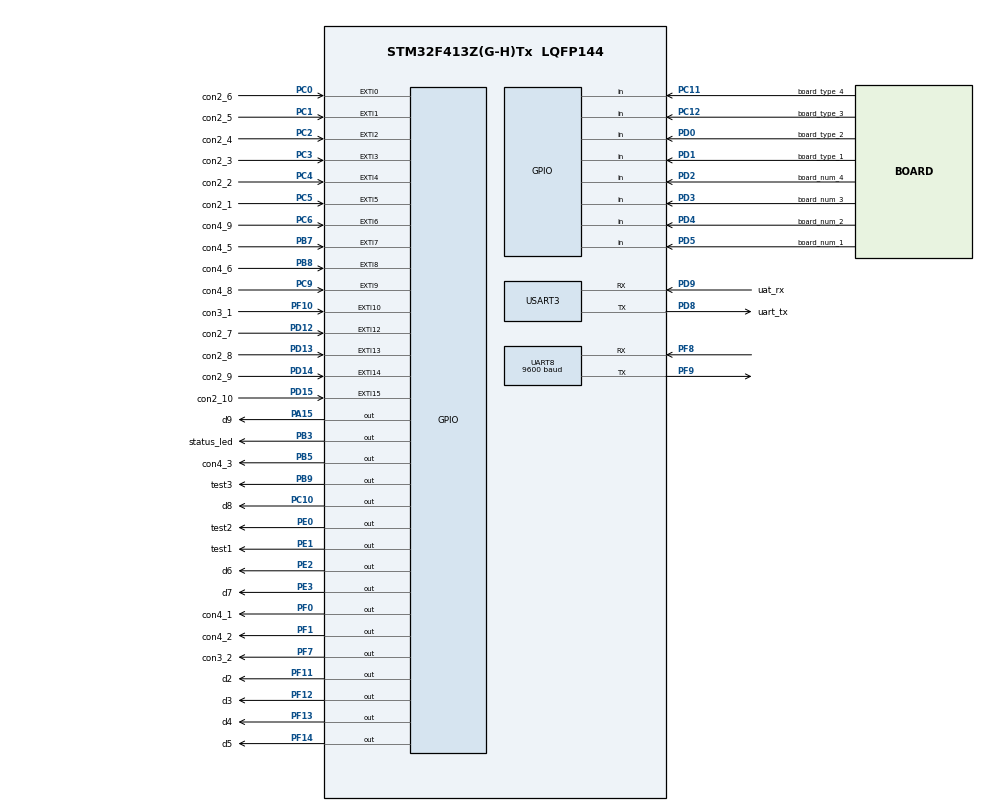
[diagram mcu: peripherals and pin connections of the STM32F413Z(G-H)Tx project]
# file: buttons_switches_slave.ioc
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Mcu.Family=STM32F4
Mcu.Name=STM32F413Z(G-H)Tx
Mcu.Package=LQFP144
NVIC.EXTI0_IRQn=true\:0\:0\:false\:false\:true\:true\:true
NVIC.EXTI15_10_IRQn=true\:0\:0\:false\:false\:true\:true\:true
NVIC.EXTI1_IRQn=true\:0\:0\:false\:false\:true\:true\:true
NVIC.EXTI2_IRQn=true\:0\:0\:false\:false\:true\:true\:true
NVIC.EXTI3_IRQn=true\:0\:0\:false\:false\:true\:true\:true
NVIC.EXTI4_IRQn=true\:0\:0\:false\:false\:true\:true\:true
NVIC.EXTI9_5_IRQn=true\:0\:0\:false\:false\:true\:true\:true
NVIC.PriorityGroup=NVIC_PRIORITYGROUP_4
NVIC.UART8_IRQn=true\:0\:0\:false\:false\:true\:true\:true
NVIC.USART3_IRQn=true\:0\:0\:false\:false\:true\:true\:true
PA13.Mode=Serial_Wire
PA13.Signal=SYS_JTMS-SWDIO
PA14.Mode=Serial_Wire
PA14.Signal=SYS_JTCK-SWCLK
PA15.GPIO_Label=d9
PA15.Signal=GPIO_Output
PB3.GPIO_Label=status_led
PB3.Signal=GPIO_Output
PB5.GPIO_Label=con4_3
PB5.Signal=GPIO_Output
PB7.GPIO_Label=con4_5
PB7.GPIO_ModeDefaultEXTI=GPIO_MODE_IT_RISING_FALLING
PB7.Signal=GPXTI7
PB8.GPIO_Label=con4_6
PB8.GPIO_ModeDefaultEXTI=GPIO_MODE_IT_RISING_FALLING
PB8.Signal=GPXTI8
PB9.GPIO_Label=test3
PB9.Signal=GPIO_Output
PC0.GPIO_Label=con2_6
PC0.GPIO_ModeDefaultEXTI=GPIO_MODE_IT_RISING_FALLING
PC0.GPIO_PuPd=GPIO_PULLUP
PC0.Signal=GPXTI0
PC1.GPIO_Label=con2_5
PC1.GPIO_ModeDefaultEXTI=GPIO_MODE_IT_RISING_FALLING
PC1.GPIO_PuPd=GPIO_PULLUP
PC1.Signal=GPXTI1
PC10.GPIO_Label=d8
PC10.Signal=GPIO_Output
PC11.GPIO_Label=board_type_4
PC11.Signal=GPIO_Input
PC12.GPIO_Label=board_type_3
PC12.Signal=GPIO_Input
PC14-OSC32_IN.Mode=LSE-External-Oscillator
PC14-OSC32_IN.Signal=RCC_OSC32_IN
PC15-OSC32_OUT.Mode=LSE-External-Oscillator
PC15-OSC32_OUT.Signal=RCC_OSC32_OUT
PC2.GPIO_Label=con2_4
PC2.GPIO_ModeDefaultEXTI=GPIO_MODE_IT_RISING_FALLING
PC2.GPIO_PuPd=GPIO_PULLUP
PC2.Signal=GPXTI2
PC3.GPIO_Label=con2_3
PC3.GPIO_ModeDefaultEXTI=GPIO_MODE_IT_RISING_FALLING
PC3.GPIO_PuPd=GPIO_PULLUP
PC3.Signal=GPXTI3
PC4.GPIO_Label=con2_2
PC4.GPIO_ModeDefaultEXTI=GPIO_MODE_IT_RISING_FALLING
PC4.GPIO_PuPd=GPIO_PULLUP
PC4.Signal=GPXTI4
PC5.GPIO_Label=con2_1
PC5.GPIO_ModeDefaultEXTI=GPIO_MODE_IT_RISING_FALLING
PC5.GPIO_PuPd=GPIO_PULLUP
PC5.Signal=GPXTI5
PC6.GPIO_Label=con4_9
PC6.GPIO_ModeDefaultEXTI=GPIO_MODE_IT_RISING_FALLING
PC6.Signal=GPXTI6
PC9.GPIO_Label=con4_8
PC9.GPIO_ModeDefaultEXTI=GPIO_MODE_IT_RISING_FALLING
PC9.Signal=GPXTI9
PD0.GPIO_Label=board_type_2
PD0.Signal=GPIO_Input
PD1.GPIO_Label=board_type_1
PD1.Signal=GPIO_Input
PD12.GPIO_Label=con2_7
PD12.GPIO_ModeDefaultEXTI=GPIO_MODE_IT_RISING_FALLING
PD12.GPIO_PuPd=GPIO_PULLUP
PD12.Signal=GPXTI12
PD13.GPIO_Label=con2_8
PD13.GPIO_ModeDefaultEXTI=GPIO_MODE_IT_RISING_FALLING
PD13.GPIO_PuPd=GPIO_PULLUP
PD13.Signal=GPXTI13
PD14.GPIO_Label=con2_9
PD14.GPIO_ModeDefaultEXTI=GPIO_MODE_IT_RISING_FALLING
PD14.GPIO_PuPd=GPIO_PULLUP
PD14.Signal=GPXTI14
PD15.GPIO_Label=con2_10
PD15.GPIO_ModeDefaultEXTI=GPIO_MODE_IT_RISING_FALLING
PD15.GPIO_PuPd=GPIO_PULLUP
PD15.Signal=GPXTI15
PD2.GPIO_Label=board_num_4
PD2.Signal=GPIO_Input
PD3.GPIO_Label=board_num_3
PD3.Signal=GPIO_Input
PD4.GPIO_Label=board_num_2
PD4.Signal=GPIO_Input
PD5.GPIO_Label=board_num_1
PD5.Signal=GPIO_Input
PD8.GPIO_Label=uart_tx
PD8.Mode=Asynchronous
PD8.Signal=USART3_TX
PD9.GPIO_Label=uat_rx
PD9.Mode=Asynchronous
PD9.Signal=USART3_RX
PE0.GPIO_Label=test2
PE0.Signal=GPIO_Output
PE1.GPIO_Label=test1
PE1.Signal=GPIO_Output
PE2.GPIO_Label=d6
PE2.Signal=GPIO_Output
PE3.GPIO_Label=d7
PE3.Signal=GPIO_Output
PF0.GPIO_Label=con4_1
PF0.Signal=GPIO_Output
PF1.GPIO_Label=con4_2
PF1.Signal=GPIO_Output
PF10.GPIO_Label=con3_1
PF10.GPIO_ModeDefaultEXTI=GPIO_MODE_IT_RISING_FALLING
PF10.Signal=GPXTI10
PF11.GPIO_Label=d2
PF11.Signal=GPIO_Output
PF12.GPIO_Label=d3
PF12.Signal=GPIO_Output
PF13.GPIO_Label=d4
PF13.Signal=GPIO_Output
PF14.GPIO_Label=d5
PF14.Signal=GPIO_Output
PF7.GPIO_Label=con3_2
PF7.Signal=GPIO_Output
PF8.Mode=Asynchronous
PF8.Signal=UART8_RX
PF9.Mode=Asynchronous
PF9.Signal=UART8_TX
ProjectManager.HeapSize=0x200
ProjectManager.StackSize=0x400
ProjectManager.TargetToolchain=STM32CubeIDE
RCC.CortexFreq_Value=16000000
RCC.USBFreq_Value=96000000
RCC.VCOOutputFreq_Value=192000000
UART8.BaudRate=9600
UART8.VirtualMode=Asynchronous
USART3.VirtualMode=VM_ASYNC
board=custom

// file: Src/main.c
/* USER CODE BEGIN Header */
/*
 * BUTTONS AND SWITCHES
 */
/* USER CODE END Header */

#include "main.h"

/* USER CODE BEGIN Includes */

#include "PIN_DEFS.h"
#include "STRUCTS.h"

/* USER CODE END Includes */

/* USER CODE BEGIN PD */

//Timing magic numbers
#define MAX_TICKER_VALUE 	4294967295
#define LED_SCALER 			10000

//Switch/button status
#define HIGH				2
#define LOW					1
/* USER CODE END PD */

UART_HandleTypeDef huart8;
UART_HandleTypeDef huart3;

void SystemClock_Config(void);
static void MX_GPIO_Init(void);
static void MX_USART3_UART_Init(void);
static void MX_UART8_Init(void);

/* USER CODE BEGIN 0 */
uint32_t ticker = 0;

union board_info_data board_data;
data_packet info_out;

union data_in data;

// State arrays
uint8_t newState[15] = {0};
uint8_t oldState[15] = {0};

/* USER CODE END 0 */

int main(void)
{

  /* MCU Configuration--------------------------------------------------------*/

  /* Reset of all peripherals, Initializes the Flash interface and the Systick. */
  HAL_Init();

  /* Configure the system clock */
  SystemClock_Config();

  /* Initialize all configured peripherals */
  MX_GPIO_Init();
  MX_USART3_UART_Init();
  MX_UART8_Init();

  /* Infinite loop */
  /* USER CODE BEGIN WHILE */
  while (1)
  {
	  HAL_UART_Receive_IT(&huart8, data.info_in_buffer, 3);

	  // Assign board info
	  board_data.board_info_raw.board_type_1 = HAL_GPIO_ReadPin(GPIOD, board_type_1_Pin) ? 0b1 : 0b0;
	  board_data.board_info_raw.board_type_2 = HAL_GPIO_ReadPin(GPIOD, board_type_2_Pin) ? 0b1 : 0b0;
	  board_data.board_info_raw.board_type_3 = HAL_GPIO_ReadPin(GPIOC, board_type_3_Pin) ? 0b1 : 0b0;
	  board_data.board_info_raw.board_type_4 = HAL_GPIO_ReadPin(GPIOC, board_type_4_Pin) ? 0b1 : 0b0;

	  board_data.board_info_raw.board_num_1 = HAL_GPIO_ReadPin(GPIOD, board_num_1_Pin) ? 0b1 : 0b0;
	  board_data.board_info_raw.board_num_2 = HAL_GPIO_ReadPin(GPIOD, board_num_2_Pin) ? 0b1 : 0b0;
	  board_data.board_info_raw.board_num_3 = HAL_GPIO_ReadPin(GPIOD, board_num_3_Pin) ? 0b1 : 0b0;
	  board_data.board_info_raw.board_num_4 = HAL_GPIO_ReadPin(GPIOD, board_num_4_Pin) ? 0b1 : 0b0;

	  info_out.board_info = board_data.board_info_char;

	  //Status LED
	  ticker++;
	  if (ticker % LED_SCALER == 0)  HAL_GPIO_TogglePin(status_led_GPIO_Port, status_led_Pin);
	  if (ticker == MAX_TICKER_VALUE) ticker = 0;

	  //Dip switches linked to LEDs
	  (HAL_GPIO_ReadPin(GPIOD, board_type_1_Pin) == 0) ? HAL_GPIO_WritePin(GPIOE, d6_Pin, GPIO_PIN_RESET) :
			  	  HAL_GPIO_WritePin(GPIOE, d6_Pin, GPIO_PIN_SET);

	  (HAL_GPIO_ReadPin(GPIOD, board_type_2_Pin) == 0) ? HAL_GPIO_WritePin(GPIOE, d7_Pin, GPIO_PIN_RESET) :
		  	  HAL_GPIO_WritePin(GPIOE, d7_Pin, GPIO_PIN_SET);

	  (HAL_GPIO_ReadPin(GPIOC, board_type_3_Pin) == 0) ? HAL_GPIO_WritePin(GPIOA, d8_Pin, GPIO_PIN_RESET) :
		  	  HAL_GPIO_WritePin(GPIOA, d8_Pin, GPIO_PIN_SET);

	  (HAL_GPIO_ReadPin(GPIOC, board_type_4_Pin) == 0) ? HAL_GPIO_WritePin(GPIOC, d9_Pin, GPIO_PIN_RESET) :
		  	  HAL_GPIO_WritePin(GPIOC, d9_Pin, GPIO_PIN_SET);

	  (HAL_GPIO_ReadPin(GPIOD, board_num_1_Pin) == 0) ? HAL_GPIO_WritePin(GPIOF, d5_Pin, GPIO_PIN_RESET) :
		  	  HAL_GPIO_WritePin(GPIOF, d5_Pin, GPIO_PIN_SET);

	  (HAL_GPIO_ReadPin(GPIOD, board_num_2_Pin) == 0) ? HAL_GPIO_WritePin(GPIOF, d4_Pin, GPIO_PIN_RESET) :
		  	  HAL_GPIO_WritePin(GPIOF, d4_Pin, GPIO_PIN_SET);

	  (HAL_GPIO_ReadPin(GPIOD, board_num_3_Pin) == 0) ? HAL_GPIO_WritePin(GPIOF, d3_Pin, GPIO_PIN_RESET) :
		  	  HAL_GPIO_WritePin(GPIOF, d3_Pin, GPIO_PIN_SET);

	  (HAL_GPIO_ReadPin(GPIOD, board_num_4_Pin) == 0) ? HAL_GPIO_WritePin(GPIOF, d2_Pin, GPIO_PIN_RESET) :
	  		  HAL_GPIO_WritePin(GPIOF, d2_Pin, GPIO_PIN_SET);

    /* USER CODE END WHILE */

  }
}

void SystemClock_Config(void)
{
  RCC_OscInitTypeDef RCC_OscInitStruct = {0};
  RCC_ClkInitTypeDef RCC_ClkInitStruct = {0};

  /** Configure the main internal regulator output voltage
  */
  __HAL_RCC_PWR_CLK_ENABLE();
  __HAL_PWR_VOLTAGESCALING_CONFIG(PWR_REGULATOR_VOLTAGE_SCALE1);
  /** Initializes the CPU, AHB and APB busses clocks
  */
  RCC_OscInitStruct.OscillatorType = RCC_OSCILLATORTYPE_HSI;
  RCC_OscInitStruct.HSIState = RCC_HSI_ON;
  RCC_OscInitStruct.HSICalibrationValue = RCC_HSICALIBRATION_DEFAULT;
  RCC_OscInitStruct.PLL.PLLState = RCC_PLL_NONE;
  if (HAL_RCC_OscConfig(&RCC_OscInitStruct) != HAL_OK)
  {
    Error_Handler();
  }
  /** Initializes the CPU, AHB and APB busses clocks
  */
  RCC_ClkInitStruct.ClockType = RCC_CLOCKTYPE_HCLK|RCC_CLOCKTYPE_SYSCLK
                              |RCC_CLOCKTYPE_PCLK1|RCC_CLOCKTYPE_PCLK2;
  RCC_ClkInitStruct.SYSCLKSource = RCC_SYSCLKSOURCE_HSI;
  RCC_ClkInitStruct.AHBCLKDivider = RCC_SYSCLK_DIV1;
  RCC_ClkInitStruct.APB1CLKDivider = RCC_HCLK_DIV1;
  RCC_ClkInitStruct.APB2CLKDivider = RCC_HCLK_DIV1;

  if (HAL_RCC_ClockConfig(&RCC_ClkInitStruct, FLASH_LATENCY_0) != HAL_OK)
  {
    Error_Handler();
  }
}

static void MX_UART8_Init(void)
{

  huart8.Instance = UART8;
  huart8.Init.BaudRate = 9600;
  huart8.Init.WordLength = UART_WORDLENGTH_8B;
  huart8.Init.StopBits = UART_STOPBITS_1;
  huart8.Init.Parity = UART_PARITY_NONE;
  huart8.Init.Mode = UART_MODE_TX_RX;
  huart8.Init.HwFlowCtl = UART_HWCONTROL_NONE;
  huart8.Init.OverSampling = UART_OVERSAMPLING_16;
  if (HAL_UART_Init(&huart8) != HAL_OK)
  {
    Error_Handler();
  }

}

static void MX_USART3_UART_Init(void)
{

  huart3.Instance = USART3;
  huart3.Init.BaudRate = 115200;
  huart3.Init.WordLength = UART_WORDLENGTH_8B;
  huart3.Init.StopBits = UART_STOPBITS_1;
  huart3.Init.Parity = UART_PARITY_NONE;
  huart3.Init.Mode = UART_MODE_TX_RX;
  huart3.Init.HwFlowCtl = UART_HWCONTROL_NONE;
  huart3.Init.OverSampling = UART_OVERSAMPLING_16;
  if (HAL_UART_Init(&huart3) != HAL_OK)
  {
    Error_Handler();
  }

}

static void MX_GPIO_Init(void)
{
  GPIO_InitTypeDef GPIO_InitStruct = {0};

  /* GPIO Ports Clock Enable */
  __HAL_RCC_GPIOE_CLK_ENABLE();
  __HAL_RCC_GPIOC_CLK_ENABLE();
  __HAL_RCC_GPIOF_CLK_ENABLE();
  __HAL_RCC_GPIOD_CLK_ENABLE();
  __HAL_RCC_GPIOA_CLK_ENABLE();
  __HAL_RCC_GPIOB_CLK_ENABLE();

  /*Configure GPIO pin Output Level */
  HAL_GPIO_WritePin(GPIOE, d6_Pin|d7_Pin|test2_Pin|test1_Pin, GPIO_PIN_RESET);

  /*Configure GPIO pin Output Level */
  HAL_GPIO_WritePin(GPIOF, con4_1_Pin|con4_2_Pin|con3_2_Pin|d2_Pin
                          |d3_Pin|d4_Pin|d5_Pin, GPIO_PIN_RESET);

  /*Configure GPIO pin Output Level */
  HAL_GPIO_WritePin(d9_GPIO_Port, d9_Pin, GPIO_PIN_RESET);

  /*Configure GPIO pin Output Level */
  HAL_GPIO_WritePin(d8_GPIO_Port, d8_Pin, GPIO_PIN_RESET);

  /*Configure GPIO pin Output Level */
  HAL_GPIO_WritePin(GPIOB, status_led_Pin|con4_3_Pin|test3_Pin, GPIO_PIN_RESET);

  /*Configure GPIO pins : d6_Pin d7_Pin test2_Pin test1_Pin */
  GPIO_InitStruct.Pin = d6_Pin|d7_Pin|test2_Pin|test1_Pin;
  GPIO_InitStruct.Mode = GPIO_MODE_OUTPUT_PP;
  GPIO_InitStruct.Pull = GPIO_NOPULL;
  GPIO_InitStruct.Speed = GPIO_SPEED_FREQ_LOW;
  HAL_GPIO_Init(GPIOE, &GPIO_InitStruct);

  /*Configure GPIO pins : con4_1_Pin con4_2_Pin con3_2_Pin d2_Pin
                           d3_Pin d4_Pin d5_Pin */
  GPIO_InitStruct.Pin = con4_1_Pin|con4_2_Pin|con3_2_Pin|d2_Pin
                          |d3_Pin|d4_Pin|d5_Pin;
  GPIO_InitStruct.Mode = GPIO_MODE_OUTPUT_PP;
  GPIO_InitStruct.Pull = GPIO_NOPULL;
  GPIO_InitStruct.Speed = GPIO_SPEED_FREQ_LOW;
  HAL_GPIO_Init(GPIOF, &GPIO_InitStruct);

  /*Configure GPIO pin : con3_1_Pin */
  GPIO_InitStruct.Pin = con3_1_Pin;
  GPIO_InitStruct.Mode = GPIO_MODE_IT_RISING_FALLING;
  GPIO_InitStruct.Pull = GPIO_NOPULL;
  HAL_GPIO_Init(con3_1_GPIO_Port, &GPIO_InitStruct);

  /*Configure GPIO pins : con2_6_Pin con2_5_Pin con2_4_Pin con2_3_Pin
                           con2_2_Pin con2_1_Pin */
  GPIO_InitStruct.Pin = con2_6_Pin|con2_5_Pin|con2_4_Pin|con2_3_Pin
                          |con2_2_Pin|con2_1_Pin;
  GPIO_InitStruct.Mode = GPIO_MODE_IT_RISING_FALLING;
  GPIO_InitStruct.Pull = GPIO_PULLUP;
  HAL_GPIO_Init(GPIOC, &GPIO_InitStruct);

  /*Configure GPIO pins : con2_7_Pin con2_8_Pin con2_9_Pin con2_10_Pin */
  GPIO_InitStruct.Pin = con2_7_Pin|con2_8_Pin|con2_9_Pin|con2_10_Pin;
  GPIO_InitStruct.Mode = GPIO_MODE_IT_RISING_FALLING;
  GPIO_InitStruct.Pull = GPIO_PULLUP;
  HAL_GPIO_Init(GPIOD, &GPIO_InitStruct);

  /*Configure GPIO pins : con4_9_Pin con4_8_Pin */
  GPIO_InitStruct.Pin = con4_9_Pin|con4_8_Pin;
  GPIO_InitStruct.Mode = GPIO_MODE_IT_RISING_FALLING;
  GPIO_InitStruct.Pull = GPIO_NOPULL;
  HAL_GPIO_Init(GPIOC, &GPIO_InitStruct);

  /*Configure GPIO pin : d9_Pin */
  GPIO_InitStruct.Pin = d9_Pin;
  GPIO_InitStruct.Mode = GPIO_MODE_OUTPUT_PP;
  GPIO_InitStruct.Pull = GPIO_NOPULL;
  GPIO_InitStruct.Speed = GPIO_SPEED_FREQ_LOW;
  HAL_GPIO_Init(d9_GPIO_Port, &GPIO_InitStruct);

  /*Configure GPIO pin : d8_Pin */
  GPIO_InitStruct.Pin = d8_Pin;
  GPIO_InitStruct.Mode = GPIO_MODE_OUTPUT_PP;
  GPIO_InitStruct.Pull = GPIO_NOPULL;
  GPIO_InitStruct.Speed = GPIO_SPEED_FREQ_LOW;
  HAL_GPIO_Init(d8_GPIO_Port, &GPIO_InitStruct);

  /*Configure GPIO pins : board_type_4_Pin board_type_3_Pin */
  GPIO_InitStruct.Pin = board_type_4_Pin|board_type_3_Pin;
  GPIO_InitStruct.Mode = GPIO_MODE_INPUT;
  GPIO_InitStruct.Pull = GPIO_NOPULL;
  HAL_GPIO_Init(GPIOC, &GPIO_InitStruct);

  /*Configure GPIO pins : board_type_2_Pin board_type_1_Pin board_num_4_Pin board_num_3_Pin
                           board_num_2_Pin board_num_1_Pin */
  GPIO_InitStruct.Pin = board_type_2_Pin|board_type_1_Pin|board_num_4_Pin|board_num_3_Pin
                          |board_num_2_Pin|board_num_1_Pin;
  GPIO_InitStruct.Mode = GPIO_MODE_INPUT;
  GPIO_InitStruct.Pull = GPIO_NOPULL;
  HAL_GPIO_Init(GPIOD, &GPIO_InitStruct);

  /*Configure GPIO pins : status_led_Pin con4_3_Pin test3_Pin */
  GPIO_InitStruct.Pin = status_led_Pin|con4_3_Pin|test3_Pin;
  GPIO_InitStruct.Mode = GPIO_MODE_OUTPUT_PP;
  GPIO_InitStruct.Pull = GPIO_NOPULL;
  GPIO_InitStruct.Speed = GPIO_SPEED_FREQ_LOW;
  HAL_GPIO_Init(GPIOB, &GPIO_InitStruct);

  /*Configure GPIO pins : con4_5_Pin con4_6_Pin */
  GPIO_InitStruct.Pin = con4_5_Pin|con4_6_Pin;
  GPIO_InitStruct.Mode = GPIO_MODE_IT_RISING_FALLING;
  GPIO_InitStruct.Pull = GPIO_NOPULL;
  HAL_GPIO_Init(GPIOB, &GPIO_InitStruct);

  /* EXTI interrupt init*/
  HAL_NVIC_SetPriority(EXTI0_IRQn, 0, 0);
  HAL_NVIC_EnableIRQ(EXTI0_IRQn);

  HAL_NVIC_SetPriority(EXTI1_IRQn, 0, 0);
  HAL_NVIC_EnableIRQ(EXTI1_IRQn);

  HAL_NVIC_SetPriority(EXTI2_IRQn, 0, 0);
  HAL_NVIC_EnableIRQ(EXTI2_IRQn);

  HAL_NVIC_SetPriority(EXTI3_IRQn, 0, 0);
  HAL_NVIC_EnableIRQ(EXTI3_IRQn);

  HAL_NVIC_SetPriority(EXTI4_IRQn, 0, 0);
  HAL_NVIC_EnableIRQ(EXTI4_IRQn);

  HAL_NVIC_SetPriority(EXTI9_5_IRQn, 0, 0);
  HAL_NVIC_EnableIRQ(EXTI9_5_IRQn);

  HAL_NVIC_SetPriority(EXTI15_10_IRQn, 0, 0);
  HAL_NVIC_EnableIRQ(EXTI15_10_IRQn);

}

/* USER CODE BEGIN 4 */
void HAL_GPIO_EXTI_Callback(uint16_t GPIO_Pin)
{
	switch (GPIO_Pin)
	{
		case con2_1_Pin:
			newState[0] = HAL_GPIO_ReadPin(GPIOC, con2_1_Pin);
			if (oldState[0] != newState[0])
			{
				oldState[0] = newState[0];
				info_out.board_add  =  con2_1_Pin_HWAdd;
				info_out.state  = (newState[0]) ? LOW : HIGH;
				HAL_UART_Transmit(&huart8,&info_out,sizeof(info_out),10);
			}
			break;

		case con2_2_Pin:
			newState[1] = HAL_GPIO_ReadPin(GPIOC, con2_2_Pin);
			if (oldState[1] != newState[1])
			{
				oldState[1] = newState[1];
				info_out.board_add  =  con2_2_Pin_HWAdd;
				info_out.state  = (newState[1]) ? LOW : HIGH;
				HAL_UART_Transmit(&huart8,&info_out,sizeof(info_out),10);
			}
			break;

		case con2_3_Pin:
			newState[2] = HAL_GPIO_ReadPin(GPIOC, con2_3_Pin);
			if (oldState[2] != newState[2])
			{
				oldState[2] = newState[2];
				info_out.board_add  =  con2_3_Pin_HWAdd;
				info_out.state  = (newState[2]) ? LOW : HIGH;
				HAL_UART_Transmit(&huart8,&info_out,sizeof(info_out),10);
			}
			break;

		case con2_4_Pin:
			newState[3] = HAL_GPIO_ReadPin(GPIOC, con2_4_Pin);
			if (oldState[3] != newState[3])
			{
				oldState[3] = newState[3];
				info_out.board_add  =  con2_4_Pin_HWAdd;
				info_out.state  = (newState[3]) ? LOW : HIGH;
				HAL_UART_Transmit(&huart8,&info_out,sizeof(info_out),10);
			}
			break;

		case con2_5_Pin:
			newState[4] = HAL_GPIO_ReadPin(GPIOC, con2_5_Pin);
			if (oldState[4] != newState[4])
			{
				oldState[4] = newState[4];
				info_out.board_add  =  con2_5_Pin_HWAdd;
				info_out.state  = (newState[4]) ? LOW : HIGH;
				HAL_UART_Transmit(&huart8,&info_out,sizeof(info_out),10);
			}
			break;

		case con2_6_Pin:
			newState[5] = HAL_GPIO_ReadPin(GPIOC, con2_6_Pin);
			if (oldState[5] != newState[5])
			{
				oldState[5] = newState[5];
				info_out.board_add  =  con2_6_Pin_HWAdd;
				info_out.state  = (newState[5]) ? LOW : HIGH;
				HAL_UART_Transmit(&huart8,&info_out,sizeof(info_out),10);
			}
			break;

		case con2_7_Pin:
			newState[6] = HAL_GPIO_ReadPin(GPIOD, con2_7_Pin);
			if (oldState[6] != newState[6])
			{
				oldState[6] = newState[6];
				info_out.board_add  =  con2_7_Pin_HWAdd;
				info_out.state  = (newState[6]) ? LOW : HIGH;
				HAL_UART_Transmit(&huart8,&info_out,sizeof(info_out),10);
			}
			break;

		case con2_8_Pin:
			newState[7] = HAL_GPIO_ReadPin(GPIOD, con2_8_Pin);
			if (oldState[7] != newState[7])
			{
				oldState[7] = newState[7];
				info_out.board_add  =  con2_8_Pin_HWAdd;
				info_out.state  = (newState[7]) ? LOW : HIGH;
				HAL_UART_Transmit(&huart8,&info_out,sizeof(info_out),10);
			}
			break;

		case con2_9_Pin:
			newState[8] = HAL_GPIO_ReadPin(GPIOD, con2_9_Pin);
			if (oldState[8] != newState[8])
			{
				oldState[8] = newState[8];
				info_out.board_add  =  con2_9_Pin_HWAdd;
				info_out.state  = (newState[8]) ? LOW : HIGH;
				HAL_UART_Transmit(&huart8,&info_out,sizeof(info_out),10);
			}
			break;

		case con2_10_Pin:
			newState[9] = HAL_GPIO_ReadPin(GPIOD, con2_10_Pin);
			if (oldState[9] != newState[9])
			{
				oldState[9] = newState[9];
				info_out.board_add  =  con2_10_Pin_HWAdd;
				info_out.state  = (newState[9]) ? LOW : HIGH;
				HAL_UART_Transmit(&huart8,&info_out,sizeof(info_out),10);
			}
			break;

		case con3_1_Pin:
		newState[10] = HAL_GPIO_ReadPin(GPIOF, con3_1_Pin);
		if (oldState[10] != newState[10])
		{
			oldState[10] = newState[10];
			info_out.board_add  =  con3_1_Pin_HWAdd;
			info_out.state  = (newState[10]) ? LOW : HIGH;
			HAL_UART_Transmit(&huart8,&info_out,sizeof(info_out),10);
		}
		break;

		/*case con4_5_Pin:
			newState[12] = HAL_GPIO_ReadPin(GPIOB, con4_5_Pin);
			if (oldState[12] != newState[12])
			{
				oldState[12] = newState[12];
				info_out.board_add  =  con4_5_Pin_HWAdd;
				info_out.state  = (newState[12]) ? LOW : HIGH;
				HAL_UART_Transmit(&huart8,&info_out,sizeof(info_out),10);
			}
			break;

		case con4_6_Pin:
			newState[13] = HAL_GPIO_ReadPin(GPIOB, con4_6_Pin);
			if (oldState[13] != newState[13])
			{
				oldState[13] = newState[13];
				info_out.board_add  =  con4_6_Pin_HWAdd;
				info_out.state  = (newState[13]) ? LOW : HIGH;
				HAL_UART_Transmit(&huart8,&info_out,sizeof(info_out),10);
			}
			break;

		case con4_9_Pin:
			newState[14] = HAL_GPIO_ReadPin(GPIOC, con4_9_Pin);
			if (oldState[14] != newState[14])
			{
				oldState[14] = newState[14];
				info_out.board_add  =  con4_9_Pin_HWAdd;
				info_out.state  = (newState[14]) ? LOW : HIGH;
				HAL_UART_Transmit(&huart8,&info_out,sizeof(info_out),10);
			}
			break;*/

	}

}
/* USER CODE END 4 */

void Error_Handler(void)
{
}

/************************ (C) COPYRIGHT STMicroelectronics *****END OF FILE****/
